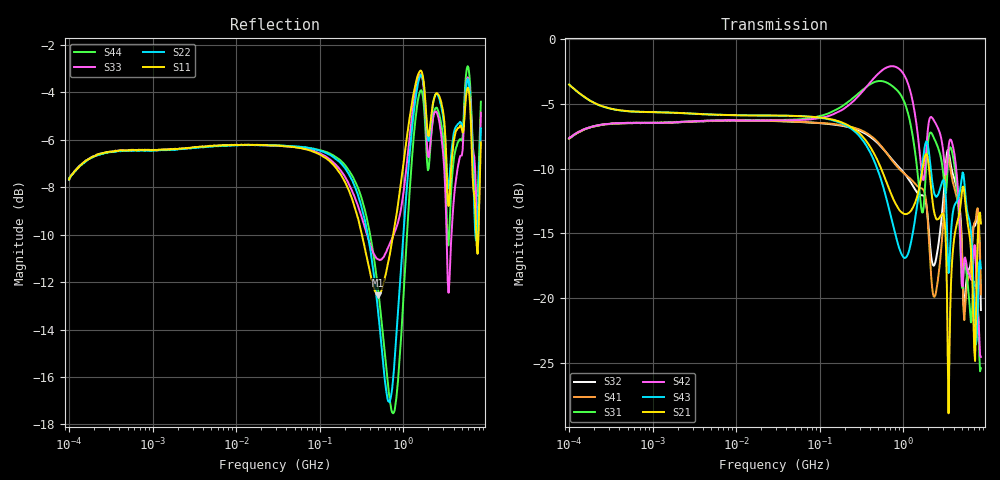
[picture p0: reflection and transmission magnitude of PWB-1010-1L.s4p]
# MHz S MA R 50
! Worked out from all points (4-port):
!   498 points, 100 kHz to 8.5 GHz, reference 50 ohm
!   strongest paths, dB at 100 kHz, 1.698 MHz, 29.49 MHz, 500.7 MHz, 8.5 GHz:
!     S21: -3.5, -5.7, -5.9, -9.5, -14.2
!     S43: -3.5, -5.7, -5.9, -10.2, -17.7
!     S42: -7.7, -6.4, -6.3, -2.7, -24.5
!     S31: -7.7, -6.4, -6.3, -3.3, -25.4
!     S41: -7.7, -6.5, -6.3, -8.0, -19.7
!     S32: -7.7, -6.4, -6.3, -8.1, -20.9
!   lowest |S11| = -12.6 dB at 500.7 MHz (marker M1), VSWR 1.62, Z = 67.8 - j21.9 ohm
!   |S11| at or under -10 dB: 319.7 MHz to 758 MHz (438.3 MHz wide, 81.3 % of centre); 7.495 GHz to 7.956 GHz (460.8 MHz wide, 5.97 % of centre)
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0.1  0.4129 29.1  0.6665 -17.7  0.4128 29.7  0.4115 -150.5
     0.6665 -17.7  0.4126 29.7  0.4133 -150.8  0.414 29.1
     0.4128 29.7  0.4133 -150.8  0.412 28.9  0.6664 -17.7
     0.4115 -150.5  0.414 29.1  0.6664 -17.7  0.4155 29.4
500.661  0.2356 -40.3  0.3361 -135.7  0.6871 -54.1  0.3983 34.1
         0.3361 -135.7  0.2172 -70.8  0.3948 37.8  0.7333 -44.4
         0.6871 -54.1  0.3948 37.8  0.2804 -43.7  0.3091 -141.2
         0.3983 34.1  0.7333 -44.4  0.3091 -141.2  0.2425 -77.1
1192.452  0.5571 -88.4  0.2146 58.1  0.4876 -153.2  0.2907 -99.7
          0.2146 58.1  0.4675 -74.0  0.2842 -100.2  0.6423 -148.9
          0.4876 -153.2  0.2842 -100.2  0.5068 -87.1  0.1555 43.8
          0.2907 -99.7  0.6423 -148.9  0.1555 43.8  0.3897 -73.1
2476.442  0.6269 179.8  0.2025 176.4  0.3967 101.6  0.1062 -95.6
          0.2025 176.4  0.6255 -178.0  0.1423 -95.1  0.4674 96.3
          0.3967 101.6  0.1423 -95.1  0.5742 179.2  0.246 174.1
          0.1062 -95.6  0.4674 96.3  0.246 174.1  0.5849 -173.8
4284.188  0.5243 -0.5  0.1873 29.4  0.2886 -104.7  0.2513 -24.2
          0.1873 29.4  0.5342 -1.3  0.2724 -20.2  0.32 -111.7
          0.2886 -104.7  0.2724 -20.2  0.4131 6.6  0.2334 1.8
          0.2513 -24.2  0.32 -111.7  0.2334 1.8  0.482 11.2
6920.76  0.3935 -173.0  0.08355 91.7  0.1165 19.9  0.1867 103.8
         0.08355 91.7  0.4146 172.3  0.1887 106.4  0.1446 15.8
         0.1165 19.9  0.1887 106.4  0.4697 -159.8  0.1142 63.8
         0.1867 103.8  0.1446 15.8  0.1142 63.8  0.4631 -179.9
8500  0.4945 -46.2  0.1941 -53.5  0.05376 -124.1  0.1036 -125.7
      0.1941 -53.5  0.529 -55.1  0.09007 -117.0  0.05941 -125.6
      0.05376 -124.1  0.09007 -117.0  0.5709 -28.7  0.1304 -84.1
      0.1036 -125.7  0.05941 -125.6  0.1304 -84.1  0.6023 -47.1
